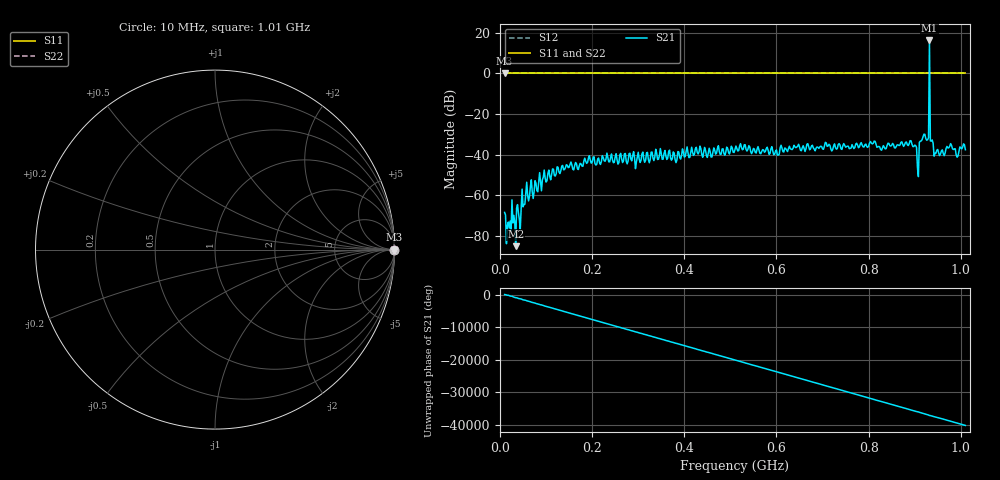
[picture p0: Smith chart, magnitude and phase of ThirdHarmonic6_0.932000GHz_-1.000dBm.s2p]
! 8/16/2025 6:22:56 AM
! C:\ANRITSUVNA\TEMP\TEMP.S2P
! CHANNEL.1
! TR.MEASUREMENT
! RAW.DATA
! RF.CORRECTION.OFF
! AVERAGING.OFF
! IF.BANDWIDTH: 5KHZ
! SWEEPTYPE:  FREQ.SWEEP(Linear)
! Reference Plane Port Info
! PORT:  PORT1  PORT2
! DISTANCE:  0  m  0  m
! TIME:  0  s  0  s
! PHASE.OFFSET:  0  deg.  0  deg.
! LOSS:  0  dB  0  dB
! REF.LOSS:  0  dB  0  dB
! REF.FREQ:  0  Hz  0  Hz
! Power Info
! POWER:  -20  dBm  -20  dBm
! EFF.POWER:  -20  dBm  -20  dBm
! SOURCE.ATTEN:  0  dB  0  dB
! TEST.ATTEN:  0  dB  0  dB
# GHZ S RI R 50.0
! FREQ.GHZ  S11RE  S11IM  S21RE  S21IM  S12RE  S12IM  S22RE  S22IM
!; PortSelection: Port_12
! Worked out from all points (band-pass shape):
!   501 points, 10 MHz to 1.01 GHz, reference 50 ohm
!   highest |S21| = 16.18 dB at 932 MHz (marker M1); lowest = -85.0 dB at 34 MHz (marker M2)
!   |S21| within 3 dB of the highest: 931.8747 MHz to 932.1214 MHz (246.7 kHz wide, 0.0265 % of centre)
!   lowest |S11| = 0.0 dB at 10 MHz (marker M3)
!   |S11| at or under -10 dB: nowhere
!   |S22| runs from 0.0 to 0.0 dB; largest |S21 - S12| = 5.5
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0.01  1 0  -0.000243 0.000293  1 0  1 0
0.018  1 0  2.2e-05 -0.000219  1 0  1 0
0.034  1 0  -2.45e-05 -5.06e-05  1 0  1 0
0.056  1 0  -0.000877 0.00068  1 0  1 0
0.096  1 0  -0.000351 -0.00417  1 0  1 0
0.178  1 0  -0.0052 -0.000528  1 0  1 0
0.344  1 0  0.00739 -0.00245  1 0  1 0
0.51  1 0  -0.0123 0.00523  1 0  1 0
0.678  1 0  -0.0129 -0.0112  1 0  1 0
0.844  1 0  0.0177 0.00658  1 0  1 0
0.892  1 0  -0.0111 -0.019  1 0  1 0
0.9  1 0  0.00484 -0.0164  1 0  1 0
0.904  1 0  -0.00826 0.0125  1 0  1 0
0.91  1 0  -0.00501 -0.0194  1 0  1 0
0.914  1 0  -0.000577 0.0217  1 0  1 0
0.926  1 0  0.0115 -0.0196  1 0  1 0
0.928  1 0  -0.0171 -0.0158  1 0  1 0
0.932  1 0  6.003 -2.338  1 0  1 0
0.936  1 0  -0.00729 -0.0204  1 0  1 0
0.938  1 0  -0.0217 0.00786  1 0  1 0
0.946  1 0  -0.00907 -0.00588  1 0  1 0
1.01  1 0  -0.0127 0.00372  1 0  1 0
